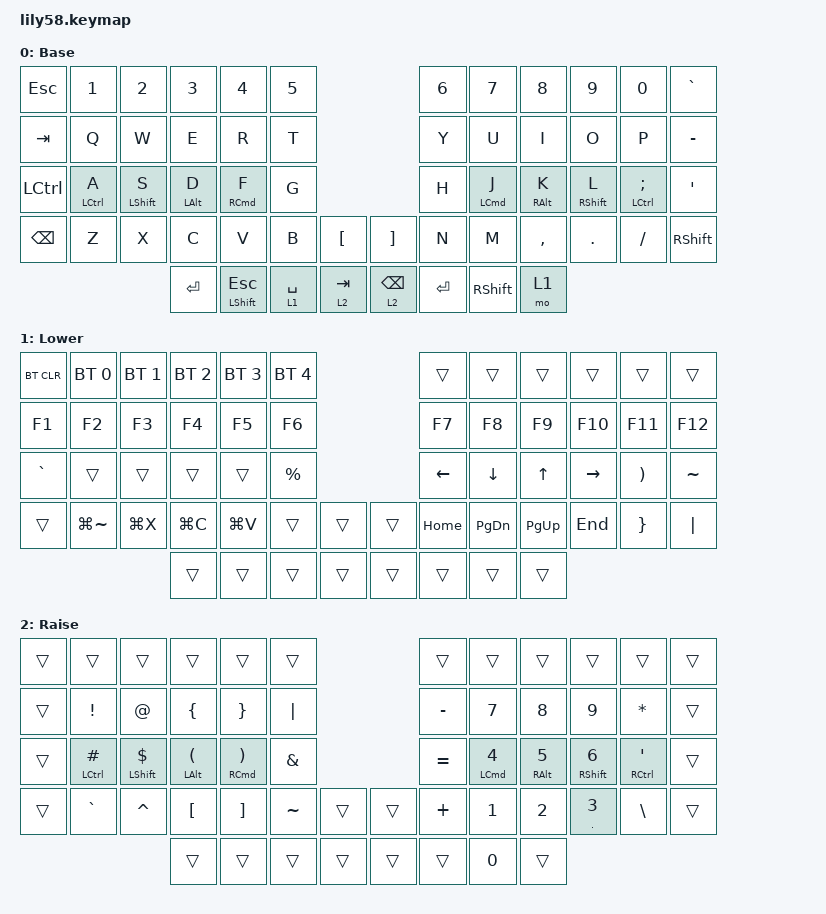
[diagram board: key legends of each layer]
/*
 * Copyright (c) 2020 The ZMK Contributors
 *
 * SPDX-License-Identifier: MIT
 */

#include <behaviors.dtsi>
#include <dt-bindings/zmk/bt.h>
#include <dt-bindings/zmk/keys.h>

/ {
    behaviors {
        hmr: hmr {
            compatible = "zmk,behavior-hold-tap";
            label = "HMR";
            bindings = <&kp>, <&kp>;

            #binding-cells = <2>;
            tapping-term-ms = <280>;
            quick-tap-ms = <175>;
            flavor = "balanced";
            hold-trigger-on-release;
            hold-trigger-key-positions = <0 1 2 3 4 5 12 13 14 15 16 17 24 25 26 27 28 29 36 37 38 39 40 41 25 26 27 28 29 37 38 39 40 41 42 50 51 52 53 43 54 55 56 57>;
            require-prior-idle-ms = <150>;
        };

        hml: hml {
            compatible = "zmk,behavior-hold-tap";
            label = "HML";
            bindings = <&kp>, <&kp>;

            #binding-cells = <2>;
            tapping-term-ms = <280>;
            quick-tap-ms = <175>;
            flavor = "balanced";
            hold-trigger-on-release;
            hold-trigger-key-positions = <6 7 8 9 10 11 18 19 20 21 22 23 30 31 32 33 34 35 50 51 52 53 42 43 53 54 43 44 45 46 47 48 49 54 55 56 57>;
            require-prior-idle-ms = <150>;
        };
    };

    combos {
        compatible = "zmk,combos";

        caps-combo {
            bindings = <&caps_word>;
            key-positions = <28 31>;
        };

        kp_ {
            bindings = <&kp UNDERSCORE>;
            key-positions = <44 41>;
            layers = <2>;
        };
    };

    keymap {
        compatible = "zmk,keymap";

        home {
            display-name = "Base";
            bindings = <
&kp ESC        &kp N1               &kp N2             &kp N3           &kp N4                 &kp N5                                     &kp N6     &kp N7               &kp N8            &kp N9              &kp N0                       &kp GRAVE
&kp TAB        &kp Q                &kp W              &kp E            &kp R                  &kp T                                      &kp Y      &kp U                &kp I             &kp O               &kp P                        &kp MINUS
&kp LCTRL      &hml LEFT_CONTROL A  &hml LEFT_SHIFT S  &hml LEFT_ALT D  &hml RIGHT_COMMAND F   &kp G                                      &kp H      &hmr LEFT_COMMAND J  &hmr RIGHT_ALT K  &hmr RIGHT_SHIFT L  &hmr LEFT_CONTROL SEMICOLON  &kp SQT
&kp BACKSPACE  &kp Z                &kp X              &kp C            &kp V                  &kp B        &kp LBKT     &kp RBKT         &kp N      &kp M                &kp COMMA         &kp DOT             &kp FSLH                     &kp RSHFT
                                                       &kp ENTER        &mt LEFT_SHIFT ESCAPE  &lt 1 SPACE  &lt 2 TAB    &lt 2 BACKSPACE  &kp ENTER  &kp RIGHT_SHIFT      &mo 1
            >;
        };

        nav {
            display-name = "Lower";
            bindings = <
&bt BT_CLR  &bt BT_SEL 0   &bt BT_SEL 1  &bt BT_SEL 2  &bt BT_SEL 3  &bt BT_SEL 4                    &trans    &trans         &trans       &trans     &trans    &trans
&kp F1      &kp F2         &kp F3        &kp F4        &kp F5        &kp F6                          &kp F7    &kp F8         &kp F9       &kp F10    &kp F11   &kp F12
&kp GRAVE   &trans         &trans        &trans        &trans        &kp PRCNT                       &kp LEFT  &kp DOWN       &kp UP       &kp RIGHT  &kp RPAR  &kp TILDE
&trans      &kp LG(TILDE)  &kp LG(X)     &kp LG(C)     &kp LG(V)     &trans        &trans    &trans  &kp HOME  &kp PAGE_DOWN  &kp PAGE_UP  &kp END    &kp RBRC  &kp PIPE
                                         &trans        &trans        &trans        &trans    &trans  &trans    &trans         &trans
            >;
        };

        num {
            display-name = "Raise";
            bindings = <
&trans  &trans                  &trans              &trans                          &trans                   &trans                           &trans     &trans                &trans             &trans          &trans                  &trans
&trans  &kp EXCL                &kp AT              &kp LEFT_BRACE                  &kp RIGHT_BRACE          &kp PIPE                         &kp MINUS  &kp N7                &kp N8             &kp N9          &kp ASTERISK            &trans
&trans  &hml LEFT_CONTROL HASH  &hml LSHIFT DOLLAR  &hml LEFT_ALT LEFT_PARENTHESIS  &hml RIGHT_COMMAND RPAR  &kp AMPERSAND                    &kp EQUAL  &hml LEFT_COMMAND N4  &hml RIGHT_ALT N5  &hml RSHIFT N6  &hml RIGHT_CONTROL SQT  &trans
&trans  &kp GRAVE               &kp CARET           &kp LBKT                        &kp RBKT                 &kp TILDE      &trans    &trans  &kp PLUS   &kp NUMBER_1          &kp NUMBER_2       &mt PERIOD N3   &kp BACKSLASH           &trans
                                                    &trans                          &trans                   &trans         &trans    &trans  &trans     &kp NUMBER_0          &trans
            >;
        };

        extra_1 { status = "reserved"; };

        extra_2 { status = "reserved"; };

        extra_3 { status = "reserved"; };
    };
};
